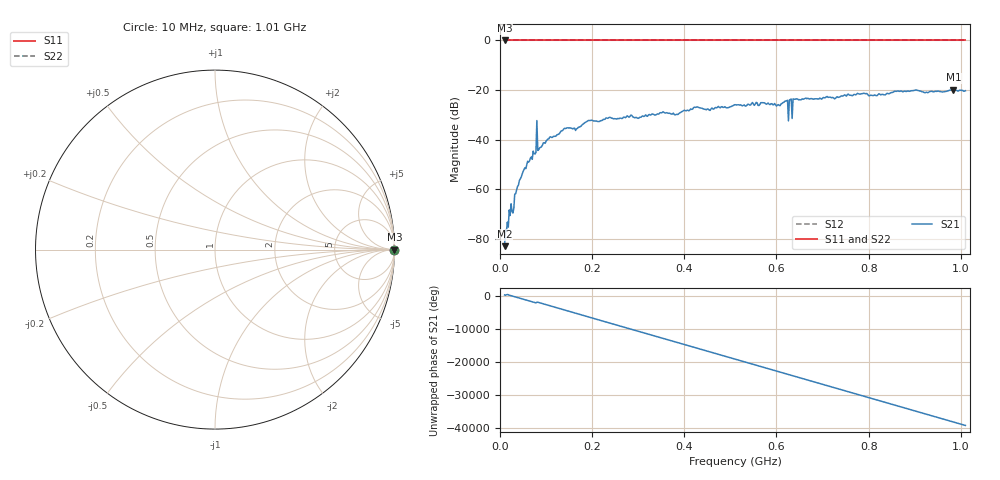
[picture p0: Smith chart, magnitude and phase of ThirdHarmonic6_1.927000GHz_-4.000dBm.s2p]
! 8/16/2025 11:13:35 PM
! C:\ANRITSUVNA\TEMP\TEMP.S2P
! CHANNEL.1
! TR.MEASUREMENT
! RAW.DATA
! RF.CORRECTION.OFF
! AVERAGING.OFF
! IF.BANDWIDTH: 5KHZ
! SWEEPTYPE:  FREQ.SWEEP(Linear)
! Reference Plane Port Info
! PORT:  PORT1  PORT2
! DISTANCE:  0  m  0  m
! TIME:  0  s  0  s
! PHASE.OFFSET:  0  deg.  0  deg.
! LOSS:  0  dB  0  dB
! REF.LOSS:  0  dB  0  dB
! REF.FREQ:  0  Hz  0  Hz
! Power Info
! POWER:  -20  dBm  -20  dBm
! EFF.POWER:  -20  dBm  -20  dBm
! SOURCE.ATTEN:  0  dB  0  dB
! TEST.ATTEN:  0  dB  0  dB
# GHZ S RI R 50.0
! FREQ.GHZ  S11RE  S11IM  S21RE  S21IM  S12RE  S12IM  S22RE  S22IM
!; PortSelection: Port_12
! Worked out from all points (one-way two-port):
!   501 points, 10 MHz to 1.01 GHz, reference 50 ohm
!   highest |S21| = -19.85 dB at 984 MHz (marker M1); lowest = -82.8 dB at 10 MHz (marker M2)
!   lowest |S11| = 0.0 dB at 10 MHz (marker M3)
!   |S11| at or under -10 dB: nowhere
!   |S22| runs from 0.0 to 0.0 dB; largest |S21 - S12| = 1.1
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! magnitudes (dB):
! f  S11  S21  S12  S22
! 10 MHz  0.0  -82.8  0.0  0.0
! 40 MHz  0.0  -58.3  0.0  0.0
! 56 MHz  0.0  -51.6  0.0  0.0
! 74 MHz  0.0  -45.5  0.0  0.0
! 76 MHz  0.0  -45.7  0.0  0.0
! 84 MHz  0.0  -44.0  0.0  0.0
! 86 MHz  0.0  -43.2  0.0  0.0
! 106 MHz  0.0  -39.6  0.0  0.0
! 142 MHz  0.0  -35.5  0.0  0.0
! 178 MHz  0.0  -34.0  0.0  0.0
! 194 MHz  0.0  -32.2  0.0  0.0
! 344 MHz  0.0  -29.7  0.0  0.0
! 382 MHz  0.0  -29.9  0.0  0.0
! 510 MHz  0.0  -25.9  0.0  0.0
! 604 MHz  0.0  -25.8  0.0  0.0
! 620 MHz  0.0  -24.4  0.0  0.0
! 630 MHz  0.0  -23.8  0.0  0.0
! 640 MHz  0.0  -23.7  0.0  0.0
! 678 MHz  0.0  -23.5  0.0  0.0
! 844 MHz  0.0  -21.5  0.0  0.0
! 984 MHz  0.0  -19.9  0.0  0.0
! 1.01 GHz  0.0  -20.3  0.0  0.0
